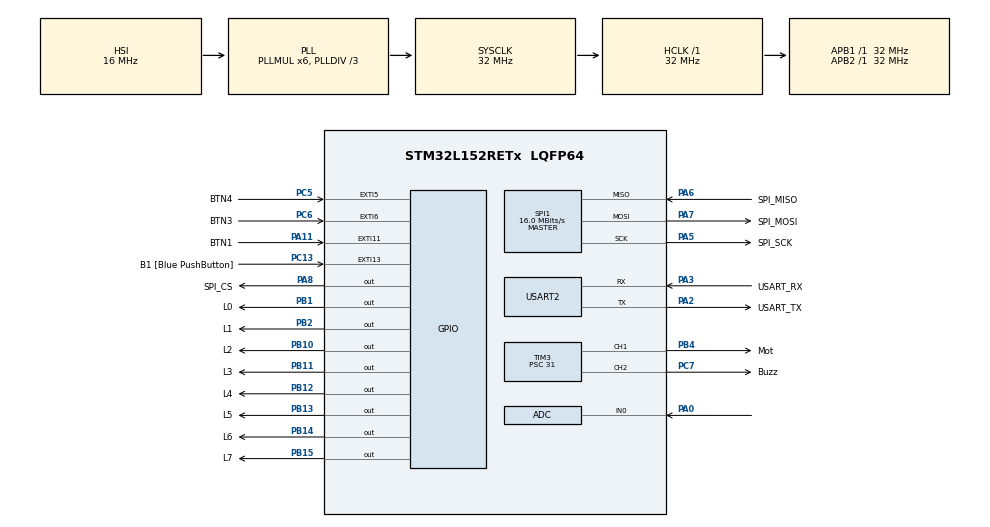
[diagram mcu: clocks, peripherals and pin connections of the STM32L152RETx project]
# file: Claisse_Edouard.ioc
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ADC.Channel-0\#ChannelRegularConversion=ADC_CHANNEL_0
ADC.NbrOfConversionFlag=1
ADC.Rank-0\#ChannelRegularConversion=1
ADC.SamplingTime-0\#ChannelRegularConversion=ADC_SAMPLETIME_4CYCLES
Mcu.Family=STM32L1
Mcu.Name=STM32L152RETx
Mcu.Package=LQFP64
NVIC.EXTI15_10_IRQn=true\:0\:0\:false\:false\:true\:true\:true\:true
NVIC.EXTI9_5_IRQn=true\:0\:0\:false\:false\:true\:true\:true\:true
NVIC.PriorityGroup=NVIC_PRIORITYGROUP_0
NVIC.TIM3_IRQn=true\:0\:0\:false\:false\:true\:true\:true\:true
NVIC.TIM7_IRQn=true\:0\:0\:false\:false\:true\:true\:true\:true
PA0-WKUP1.Mode=IN0
PA0-WKUP1.Signal=ADC_IN0
PA11.GPIO_Label=BTN1
PA11.Signal=GPXTI11
PA13.GPIO_Label=TMS
PA13.Mode=Serial_Wire
PA13.Signal=SYS_JTMS-SWDIO
PA14.GPIO_Label=TCK
PA14.Mode=Serial_Wire
PA14.Signal=SYS_JTCK-SWCLK
PA2.GPIO_Label=USART_TX
PA2.Mode=Asynchronous
PA2.Signal=USART2_TX
PA3.GPIO_Label=USART_RX
PA3.Mode=Asynchronous
PA3.Signal=USART2_RX
PA5.GPIO_Label=SPI_SCK
PA5.Mode=Full_Duplex_Master
PA5.Signal=SPI1_SCK
PA6.GPIO_Label=SPI_MISO
PA6.Mode=Full_Duplex_Master
PA6.Signal=SPI1_MISO
PA7.GPIO_Label=SPI_MOSI
PA7.Mode=Full_Duplex_Master
PA7.Signal=SPI1_MOSI
PA8.GPIO_Label=SPI_CS
PA8.Signal=GPIO_Output
PB1.GPIO_Label=L0
PB1.Signal=GPIO_Output
PB10.GPIO_Label=L2
PB10.Signal=GPIO_Output
PB11.GPIO_Label=L3
PB11.Signal=GPIO_Output
PB12.GPIO_Label=L4
PB12.Signal=GPIO_Output
PB13.GPIO_Label=L5
PB13.Signal=GPIO_Output
PB14.GPIO_Label=L6
PB14.Signal=GPIO_Output
PB15.GPIO_Label=L7
PB15.Signal=GPIO_Output
PB2.GPIO_Label=L1
PB2.Signal=GPIO_Output
PB3.GPIO_Label=SWO
PB3.Signal=SYS_JTDO-TRACESWO
PB4.GPIO_Label=Mot
PB4.Signal=S_TIM3_CH1
PC13-WKUP2.GPIO_Label=B1 [Blue PushButton]
PC13-WKUP2.Signal=GPXTI13
PC14-OSC32_IN.Mode=LSE-External-Oscillator
PC14-OSC32_IN.Signal=RCC_OSC32_IN
PC15-OSC32_OUT.Mode=LSE-External-Oscillator
PC15-OSC32_OUT.Signal=RCC_OSC32_OUT
PC5.GPIO_Label=BTN4
PC5.Signal=GPXTI5
PC6.GPIO_Label=BTN3
PC6.Signal=GPXTI6
PC7.GPIO_Label=Buzz
PC7.Signal=S_TIM3_CH2
PH0-OSC_IN.Mode=HSE-External-Clock-Source
PH0-OSC_IN.Signal=RCC_OSC_IN
PH1-OSC_OUT.Signal=RCC_OSC_OUT
ProjectManager.HeapSize=0x200
ProjectManager.StackSize=0x400
ProjectManager.TargetToolchain=STM32CubeIDE
RCC.48MHZClocksFreq_Value=48000000
RCC.AHBFreq_Value=32000000
RCC.APB1Freq_Value=32000000
RCC.APB1TimFreq_Value=32000000
RCC.APB2Freq_Value=32000000
RCC.APB2TimFreq_Value=32000000
RCC.HCLKFreq_Value=32000000
RCC.HSE_VALUE=8000000
RCC.HSI_VALUE=16000000
RCC.MSI_VALUE=2097000
RCC.PLLDIV=RCC_PLL_DIV3
RCC.PLLMUL=RCC_PLL_MUL6
RCC.RTCClockSelectionVirtual=RCC_RTCCLKSOURCE_LSE
RCC.SYSCLKFreq_VALUE=32000000
RCC.SYSCLKSource=RCC_SYSCLKSOURCE_PLLCLK
RCC.USBOutput=48000000
RCC.VCOOutputFreq_Value=96000000
SH.S_TIM3_CH1.0=TIM3_CH1,PWM Generation1 CH1
SH.S_TIM3_CH2.0=TIM3_CH2,Output Compare2 CH2
SPI1.CalculateBaudRate=16.0 MBits/s
SPI1.Direction=SPI_DIRECTION_2LINES
SPI1.Mode=SPI_MODE_MASTER
SPI1.VirtualType=VM_MASTER
TIM2.Period=200
TIM2.Prescaler=32000
TIM3.Channel-Output\ Compare2\ CH2=TIM_CHANNEL_2
TIM3.Channel-PWM\ Generation1\ CH1=TIM_CHANNEL_1
TIM3.Period=2278
TIM3.Prescaler=31
TIM3.Pulse-Output\ Compare2\ CH2=1039
TIM7.Period=6000
TIM7.Prescaler=32000
USART2.VirtualMode=VM_ASYNC
VP_TIM2_VS_ClockSourceINT.Mode=Internal
VP_TIM3_VS_ClockSourceINT.Mode=Internal
VP_TIM7_VS_ClockSourceINT.Mode=Enable_Timer
board=NUCLEO-L152RE

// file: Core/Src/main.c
/* USER CODE BEGIN Header */
/**
  ******************************************************************************
  * @file           : main.c
  * @brief          : Main program body
  ******************************************************************************
  * @attention
  *
  * Copyright (c) 2024 STMicroelectronics.
  * All rights reserved.
  *
  * This software is licensed under terms that can be found in the LICENSE file
  * in the root directory of this software component.
  * If no LICENSE file comes with this software, it is provided AS-IS.
  *
  ******************************************************************************
  */
/* USER CODE END Header */
#include "main.h"

/* USER CODE BEGIN Includes */
#include "stdio.h"
#include "max7219_Yncrea2.h"
/* USER CODE END Includes */

ADC_HandleTypeDef hadc;

SPI_HandleTypeDef hspi1;

TIM_HandleTypeDef htim2;
TIM_HandleTypeDef htim3;
TIM_HandleTypeDef htim7;

UART_HandleTypeDef huart2;

/* USER CODE BEGIN PV */
uint32_t MyDelay = 600;
int flag_irqT7 = 0;
int flag_irqBP3 = 0;
int flag_irqBP4 = 0;
uint8_t flag_bp1 = 0;
uint32_t analogValue = 0;
char ISEN_Start[] = {'S','T','A','R','T'}; // Char pour s'inplifier l'affichage à l'aide des fonction
char Off_M[] = {'O','F','F'};
char On_M[] = {'O','N'};
/* USER CODE END PV */

void SystemClock_Config(void);
static void MX_GPIO_Init(void);
static void MX_USART2_UART_Init(void);
static void MX_SPI1_Init(void);
static void MX_TIM7_Init(void);
static void MX_TIM2_Init(void);
static void MX_ADC_Init(void);
static void MX_TIM3_Init(void);

/* USER CODE BEGIN 0 */
void TIM7_IRQ(void)
{
	flag_irqT7 = 1;
}
void BP3_IRQ(void)
{
	if(flag_irqBP3){
		flag_irqBP3 = 0;
	}else{
		flag_irqBP3 = 1;
	}
}

void BP4_IRQ(void)
{
	if(flag_irqBP4){
		flag_irqBP4 = 0;
	}else{
		flag_irqBP4 = 1;
	}
}
void DemarrageSTM(uint32_t MyDelay)     // Demarrage avec le Start au lancement du programme
{
	MAX7219_Clear ();
	MAX7219_DisplayChar('4',ISEN_Start[0]);
	HAL_Delay(MyDelay);
	MAX7219_DisplayChar('3',ISEN_Start[0]);
	MAX7219_DisplayChar('4',ISEN_Start[1]);
	HAL_Delay(MyDelay);
	MAX7219_DisplayChar('2',ISEN_Start[0]);
	MAX7219_DisplayChar('3',ISEN_Start[1]);
	MAX7219_DisplayChar('4',ISEN_Start[2]);
	HAL_Delay(MyDelay);
	MAX7219_DisplayChar('1',ISEN_Start[0]);
	MAX7219_DisplayChar('2',ISEN_Start[1]);
	MAX7219_DisplayChar('3',ISEN_Start[2]);
	MAX7219_DisplayChar('4',ISEN_Start[3]);
	HAL_Delay(MyDelay);
	MAX7219_DisplayChar('1',ISEN_Start[1]);
	MAX7219_DisplayChar('2',ISEN_Start[2]);
	MAX7219_DisplayChar('3',ISEN_Start[3]);
	MAX7219_DisplayChar('4',ISEN_Start[4]);
	HAL_Delay(MyDelay);
}

void OffM(void)    // Affichage de OFF au lancement du programme après le start et après avoir cliquer sur le bp1
{
	MAX7219_DisplayChar('1',Off_M[0]);
	MAX7219_DisplayChar('2',Off_M[1]);
	MAX7219_DisplayChar('3',Off_M[2]);
}

void OnM(void)    // Affichage Moteur en action
{
	MAX7219_DisplayChar('1',On_M[0]);
	MAX7219_DisplayChar('2',On_M[1]);
}

void BP1(void)  // Boutton poussoir 1
{
	if(flag_bp1){
		flag_bp1 = 0;
	}else{
		flag_bp1 = 1;
	}
}

void motor(int MotorState) // Moteur
{
	if(MotorState){
		TIM3->PSC = 32000;
		TIM3->ARR = 1000;
		HAL_TIM_PWM_Start_IT(&htim3,TIM_CHANNEL_1);
		printf("Motor Enable \n\r");
	}
	else{
		HAL_TIM_PWM_Stop_IT(&htim3,TIM_CHANNEL_1);
		printf("Motor Disable \n\r");
	}
}

void adcFunction(void)  // Moteur pour augmenter ou diminuer le rapport cyclique du moteur avec le RV2 car le RV1 ne marchait pas
{
	HAL_ADC_Start_IT(&hadc);
	HAL_ADC_PollForConversion(&hadc, 1000);
	analogValue = HAL_ADC_GetValue(&hadc);
	HAL_ADC_Stop(&hadc);

	printf("ADC_Value = %lu \n\r",analogValue);
	HAL_Delay(500);
	if(  analogValue < 680)
		{
		printf(" 00 \r\n");
		buzzer(0);
		OffM();
		TIM3->CCR1 = 0;
		}
	if(  (analogValue > 680) && (analogValue < 1360))
		{
		printf(" 20\r\n");
		buzzer(0);
		MAX7219_Clear ();
		OnM();
		TIM3->CCR1 = 200;
		}
	if( (analogValue > 1360) && (analogValue < 2040))
		{
		printf(" 40  \r\n");
		buzzer(0);
		TIM3->CCR1 = 400;
		OnM();
		}
	if((analogValue > 2040) && (analogValue < 2720))
		{
		printf(" 60 \r\n");
		buzzer(0);
		TIM3->CCR1 = 600;
		OnM();
		}

	if((analogValue > 2720) && (analogValue < 3400))
		{
		printf(" 80 \r\n");
		buzzer(0);
		TIM3->CCR1 = 800;
		OnM();
		}

	if(analogValue > 3400)
		{
		printf(" 100 \r\n");
		TIM3->CCR1 = 1000;
		OnM();
		buzzer(1);
		}
}

void buzzer (int BuzzerState)  // Buzzer
{
	if(BuzzerState)
	{
		HAL_TIM_PWM_Start_IT(&htim3,TIM_CHANNEL_2);
	}
	else{
		HAL_TIM_PWM_Stop_IT(&htim3,TIM_CHANNEL_2);
	}
}

void DefLedL(void) // Défilement des Leds en partant de la gauche
{

	uint8_t i;
	uint16_t pinTab[8] = {L0_Pin, L1_Pin, L2_Pin, L3_Pin, L4_Pin, L5_Pin, L6_Pin, L7_Pin};

	// Turn on LEDs 0 to 7 progressively from left to right with a delay of 50ms
	for(i=7; i!=255; i--) // Changed i>0 to i!=255 to handle underflow of uint8_t
	{
		//printf ("%d \r\n", i+1); // Adjust print statement to match LED number
		HAL_GPIO_WritePin(L0_GPIO_Port, pinTab[i], GPIO_PIN_SET);
		HAL_Delay(50);
	}

	// Turn off LEDs 0 to 7 progressively from left to right with a delay of 50ms
	for(i=0; i<8; i++)
	{
		HAL_GPIO_WritePin(L0_GPIO_Port, pinTab[i], GPIO_PIN_RESET);
		HAL_Delay(50);
	}

}
void DefLedR(void) // Défilement des Leds en partant de la Droite
{
	uint8_t i;
	uint16_t pinTab[8] = {L0_Pin, L1_Pin, L2_Pin, L3_Pin, L4_Pin, L5_Pin, L6_Pin, L7_Pin};

	// Turn on LEDs 0 to 7 progressively from right to left with a delay of 50ms
	for(i=0; i<8; i++)
	{
		HAL_GPIO_WritePin(L0_GPIO_Port, pinTab[i], GPIO_PIN_SET);
		HAL_Delay(50);
	}

	// Turn off LEDs 0 to 7 progressively from right to left with a delay of 50ms
	for(i=7; i!=255; i--) // Again, changed i>0 to i!=255 to handle underflow
	{
		//printf ("%d \r\n", i+1); // Adjust print statement to match LED number
		HAL_GPIO_WritePin(L0_GPIO_Port, pinTab[i], GPIO_PIN_RESET);
		HAL_Delay(50);
	}
}

/* USER CODE END 0 */

int main(void)
{

  /* MCU Configuration--------------------------------------------------------*/

  /* Reset of all peripherals, Initializes the Flash interface and the Systick. */
  HAL_Init();

  /* Configure the system clock */
  SystemClock_Config();

  /* Initialize all configured peripherals */
  MX_GPIO_Init();
  MX_USART2_UART_Init();
  MX_SPI1_Init();
  MX_TIM7_Init();
  MX_TIM2_Init();
  MX_ADC_Init();
  MX_TIM3_Init();
  /* USER CODE BEGIN 2 */
  printf("Hello Edouard \r\n");

  MAX7219_Init();
  __HAL_TIM_SET_COUNTER(&htim7, 0);
  if(HAL_TIM_Base_Start_IT(&htim7)!= HAL_OK)
  {
    Error_Handler();
  }

  flag_irqT7 = 0;
  while(flag_irqT7 == 0)
  {
	  printf("Teste Démarrage \r\n");
	  DemarrageSTM(MyDelay);
  }
  HAL_TIM_Base_Stop_IT(&htim7);
  MAX7219_Clear ();
  HAL_TIM_Base_Start_IT(&htim3);
  /* USER CODE END 2 */

  /* Infinite loop */
  while (1)
  {

    /* USER CODE BEGIN 3 */

	  if(flag_bp1 == 1)
	  {
		  adcFunction();
		  motor(1);
	  }
	  if(flag_irqBP3 == 1)
	  {
		  DefLedL();
	  }
	  if(flag_irqBP4 == 1)
	  {
		  DefLedR();
	  }
  }
  /* USER CODE END 3 */
}

void SystemClock_Config(void)
{
  RCC_OscInitTypeDef RCC_OscInitStruct = {0};
  RCC_ClkInitTypeDef RCC_ClkInitStruct = {0};

  /** Configure the main internal regulator output voltage
  */
  __HAL_PWR_VOLTAGESCALING_CONFIG(PWR_REGULATOR_VOLTAGE_SCALE1);

  /** Initializes the RCC Oscillators according to the specified parameters
  * in the RCC_OscInitTypeDef structure.
  */
  RCC_OscInitStruct.OscillatorType = RCC_OSCILLATORTYPE_HSI;
  RCC_OscInitStruct.HSIState = RCC_HSI_ON;
  RCC_OscInitStruct.HSICalibrationValue = RCC_HSICALIBRATION_DEFAULT;
  RCC_OscInitStruct.PLL.PLLState = RCC_PLL_ON;
  RCC_OscInitStruct.PLL.PLLSource = RCC_PLLSOURCE_HSI;
  RCC_OscInitStruct.PLL.PLLMUL = RCC_PLL_MUL6;
  RCC_OscInitStruct.PLL.PLLDIV = RCC_PLL_DIV3;
  if (HAL_RCC_OscConfig(&RCC_OscInitStruct) != HAL_OK)
  {
    Error_Handler();
  }

  /** Initializes the CPU, AHB and APB buses clocks
  */
  RCC_ClkInitStruct.ClockType = RCC_CLOCKTYPE_HCLK|RCC_CLOCKTYPE_SYSCLK
                              |RCC_CLOCKTYPE_PCLK1|RCC_CLOCKTYPE_PCLK2;
  RCC_ClkInitStruct.SYSCLKSource = RCC_SYSCLKSOURCE_PLLCLK;
  RCC_ClkInitStruct.AHBCLKDivider = RCC_SYSCLK_DIV1;
  RCC_ClkInitStruct.APB1CLKDivider = RCC_HCLK_DIV1;
  RCC_ClkInitStruct.APB2CLKDivider = RCC_HCLK_DIV1;

  if (HAL_RCC_ClockConfig(&RCC_ClkInitStruct, FLASH_LATENCY_1) != HAL_OK)
  {
    Error_Handler();
  }
}

static void MX_ADC_Init(void)
{

  ADC_ChannelConfTypeDef sConfig = {0};

  /** Configure the global features of the ADC (Clock, Resolution, Data Alignment and number of conversion)
  */
  hadc.Instance = ADC1;
  hadc.Init.ClockPrescaler = ADC_CLOCK_ASYNC_DIV1;
  hadc.Init.Resolution = ADC_RESOLUTION_12B;
  hadc.Init.DataAlign = ADC_DATAALIGN_RIGHT;
  hadc.Init.ScanConvMode = ADC_SCAN_DISABLE;
  hadc.Init.EOCSelection = ADC_EOC_SEQ_CONV;
  hadc.Init.LowPowerAutoWait = ADC_AUTOWAIT_DISABLE;
  hadc.Init.LowPowerAutoPowerOff = ADC_AUTOPOWEROFF_DISABLE;
  hadc.Init.ChannelsBank = ADC_CHANNELS_BANK_A;
  hadc.Init.ContinuousConvMode = DISABLE;
  hadc.Init.NbrOfConversion = 1;
  hadc.Init.DiscontinuousConvMode = DISABLE;
  hadc.Init.ExternalTrigConv = ADC_SOFTWARE_START;
  hadc.Init.ExternalTrigConvEdge = ADC_EXTERNALTRIGCONVEDGE_NONE;
  hadc.Init.DMAContinuousRequests = DISABLE;
  if (HAL_ADC_Init(&hadc) != HAL_OK)
  {
    Error_Handler();
  }

  /** Configure for the selected ADC regular channel its corresponding rank in the sequencer and its sample time.
  */
  sConfig.Channel = ADC_CHANNEL_0;
  sConfig.Rank = ADC_REGULAR_RANK_1;
  sConfig.SamplingTime = ADC_SAMPLETIME_4CYCLES;
  if (HAL_ADC_ConfigChannel(&hadc, &sConfig) != HAL_OK)
  {
    Error_Handler();
  }

}

static void MX_SPI1_Init(void)
{

  /* SPI1 parameter configuration*/
  hspi1.Instance = SPI1;
  hspi1.Init.Mode = SPI_MODE_MASTER;
  hspi1.Init.Direction = SPI_DIRECTION_2LINES;
  hspi1.Init.DataSize = SPI_DATASIZE_8BIT;
  hspi1.Init.CLKPolarity = SPI_POLARITY_LOW;
  hspi1.Init.CLKPhase = SPI_PHASE_1EDGE;
  hspi1.Init.NSS = SPI_NSS_SOFT;
  hspi1.Init.BaudRatePrescaler = SPI_BAUDRATEPRESCALER_2;
  hspi1.Init.FirstBit = SPI_FIRSTBIT_MSB;
  hspi1.Init.TIMode = SPI_TIMODE_DISABLE;
  hspi1.Init.CRCCalculation = SPI_CRCCALCULATION_DISABLE;
  hspi1.Init.CRCPolynomial = 10;
  if (HAL_SPI_Init(&hspi1) != HAL_OK)
  {
    Error_Handler();
  }

}

static void MX_TIM2_Init(void)
{

  TIM_ClockConfigTypeDef sClockSourceConfig = {0};
  TIM_MasterConfigTypeDef sMasterConfig = {0};

  htim2.Instance = TIM2;
  htim2.Init.Prescaler = 32000;
  htim2.Init.CounterMode = TIM_COUNTERMODE_UP;
  htim2.Init.Period = 200;
  htim2.Init.ClockDivision = TIM_CLOCKDIVISION_DIV1;
  htim2.Init.AutoReloadPreload = TIM_AUTORELOAD_PRELOAD_DISABLE;
  if (HAL_TIM_Base_Init(&htim2) != HAL_OK)
  {
    Error_Handler();
  }
  sClockSourceConfig.ClockSource = TIM_CLOCKSOURCE_INTERNAL;
  if (HAL_TIM_ConfigClockSource(&htim2, &sClockSourceConfig) != HAL_OK)
  {
    Error_Handler();
  }
  sMasterConfig.MasterOutputTrigger = TIM_TRGO_RESET;
  sMasterConfig.MasterSlaveMode = TIM_MASTERSLAVEMODE_DISABLE;
  if (HAL_TIMEx_MasterConfigSynchronization(&htim2, &sMasterConfig) != HAL_OK)
  {
    Error_Handler();
  }

}

static void MX_TIM3_Init(void)
{

  TIM_ClockConfigTypeDef sClockSourceConfig = {0};
  TIM_MasterConfigTypeDef sMasterConfig = {0};
  TIM_OC_InitTypeDef sConfigOC = {0};

  htim3.Instance = TIM3;
  htim3.Init.Prescaler = 31;
  htim3.Init.CounterMode = TIM_COUNTERMODE_UP;
  htim3.Init.Period = 2278;
  htim3.Init.ClockDivision = TIM_CLOCKDIVISION_DIV1;
  htim3.Init.AutoReloadPreload = TIM_AUTORELOAD_PRELOAD_DISABLE;
  if (HAL_TIM_Base_Init(&htim3) != HAL_OK)
  {
    Error_Handler();
  }
  sClockSourceConfig.ClockSource = TIM_CLOCKSOURCE_INTERNAL;
  if (HAL_TIM_ConfigClockSource(&htim3, &sClockSourceConfig) != HAL_OK)
  {
    Error_Handler();
  }
  if (HAL_TIM_PWM_Init(&htim3) != HAL_OK)
  {
    Error_Handler();
  }
  if (HAL_TIM_OC_Init(&htim3) != HAL_OK)
  {
    Error_Handler();
  }
  sMasterConfig.MasterOutputTrigger = TIM_TRGO_RESET;
  sMasterConfig.MasterSlaveMode = TIM_MASTERSLAVEMODE_DISABLE;
  if (HAL_TIMEx_MasterConfigSynchronization(&htim3, &sMasterConfig) != HAL_OK)
  {
    Error_Handler();
  }
  sConfigOC.OCMode = TIM_OCMODE_PWM1;
  sConfigOC.Pulse = 0;
  sConfigOC.OCPolarity = TIM_OCPOLARITY_HIGH;
  sConfigOC.OCFastMode = TIM_OCFAST_DISABLE;
  if (HAL_TIM_PWM_ConfigChannel(&htim3, &sConfigOC, TIM_CHANNEL_1) != HAL_OK)
  {
    Error_Handler();
  }
  sConfigOC.OCMode = TIM_OCMODE_TIMING;
  sConfigOC.Pulse = 1039;
  if (HAL_TIM_OC_ConfigChannel(&htim3, &sConfigOC, TIM_CHANNEL_2) != HAL_OK)
  {
    Error_Handler();
  }
  HAL_TIM_MspPostInit(&htim3);

}

static void MX_TIM7_Init(void)
{

  TIM_MasterConfigTypeDef sMasterConfig = {0};

  htim7.Instance = TIM7;
  htim7.Init.Prescaler = 32000;
  htim7.Init.CounterMode = TIM_COUNTERMODE_UP;
  htim7.Init.Period = 6000;
  htim7.Init.AutoReloadPreload = TIM_AUTORELOAD_PRELOAD_DISABLE;
  if (HAL_TIM_Base_Init(&htim7) != HAL_OK)
  {
    Error_Handler();
  }
  sMasterConfig.MasterOutputTrigger = TIM_TRGO_RESET;
  sMasterConfig.MasterSlaveMode = TIM_MASTERSLAVEMODE_DISABLE;
  if (HAL_TIMEx_MasterConfigSynchronization(&htim7, &sMasterConfig) != HAL_OK)
  {
    Error_Handler();
  }

}

static void MX_USART2_UART_Init(void)
{

  huart2.Instance = USART2;
  huart2.Init.BaudRate = 115200;
  huart2.Init.WordLength = UART_WORDLENGTH_8B;
  huart2.Init.StopBits = UART_STOPBITS_1;
  huart2.Init.Parity = UART_PARITY_NONE;
  huart2.Init.Mode = UART_MODE_TX_RX;
  huart2.Init.HwFlowCtl = UART_HWCONTROL_NONE;
  huart2.Init.OverSampling = UART_OVERSAMPLING_16;
  if (HAL_UART_Init(&huart2) != HAL_OK)
  {
    Error_Handler();
  }

}

static void MX_GPIO_Init(void)
{
  GPIO_InitTypeDef GPIO_InitStruct = {0};

  /* GPIO Ports Clock Enable */
  __HAL_RCC_GPIOC_CLK_ENABLE();
  __HAL_RCC_GPIOH_CLK_ENABLE();
  __HAL_RCC_GPIOA_CLK_ENABLE();
  __HAL_RCC_GPIOB_CLK_ENABLE();

  /*Configure GPIO pin Output Level */
  HAL_GPIO_WritePin(GPIOB, L0_Pin|L1_Pin|L2_Pin|L3_Pin
                          |L4_Pin|L5_Pin|L6_Pin|L7_Pin, GPIO_PIN_RESET);

  /*Configure GPIO pin Output Level */
  HAL_GPIO_WritePin(SPI_CS_GPIO_Port, SPI_CS_Pin, GPIO_PIN_RESET);

  /*Configure GPIO pins : B1_Pin BTN4_Pin BTN3_Pin */
  GPIO_InitStruct.Pin = B1_Pin|BTN4_Pin|BTN3_Pin;
  GPIO_InitStruct.Mode = GPIO_MODE_IT_RISING;
  GPIO_InitStruct.Pull = GPIO_NOPULL;
  HAL_GPIO_Init(GPIOC, &GPIO_InitStruct);

  /*Configure GPIO pins : L0_Pin L1_Pin L2_Pin L3_Pin
                           L4_Pin L5_Pin L6_Pin L7_Pin */
  GPIO_InitStruct.Pin = L0_Pin|L1_Pin|L2_Pin|L3_Pin
                          |L4_Pin|L5_Pin|L6_Pin|L7_Pin;
  GPIO_InitStruct.Mode = GPIO_MODE_OUTPUT_PP;
  GPIO_InitStruct.Pull = GPIO_NOPULL;
  GPIO_InitStruct.Speed = GPIO_SPEED_FREQ_LOW;
  HAL_GPIO_Init(GPIOB, &GPIO_InitStruct);

  /*Configure GPIO pin : SPI_CS_Pin */
  GPIO_InitStruct.Pin = SPI_CS_Pin;
  GPIO_InitStruct.Mode = GPIO_MODE_OUTPUT_PP;
  GPIO_InitStruct.Pull = GPIO_NOPULL;
  GPIO_InitStruct.Speed = GPIO_SPEED_FREQ_LOW;
  HAL_GPIO_Init(SPI_CS_GPIO_Port, &GPIO_InitStruct);

  /*Configure GPIO pin : BTN1_Pin */
  GPIO_InitStruct.Pin = BTN1_Pin;
  GPIO_InitStruct.Mode = GPIO_MODE_IT_RISING;
  GPIO_InitStruct.Pull = GPIO_NOPULL;
  HAL_GPIO_Init(BTN1_GPIO_Port, &GPIO_InitStruct);

  /* EXTI interrupt init*/
  HAL_NVIC_SetPriority(EXTI9_5_IRQn, 0, 0);
  HAL_NVIC_EnableIRQ(EXTI9_5_IRQn);

  HAL_NVIC_SetPriority(EXTI15_10_IRQn, 0, 0);
  HAL_NVIC_EnableIRQ(EXTI15_10_IRQn);

}

/* USER CODE BEGIN 4 */
int __io_putchar(int ch)
{
	ITM_SendChar(ch);
	return(ch);
}
/* USER CODE END 4 */

void Error_Handler(void)
{
  __disable_irq();
  while (1)
  {
  }
}
